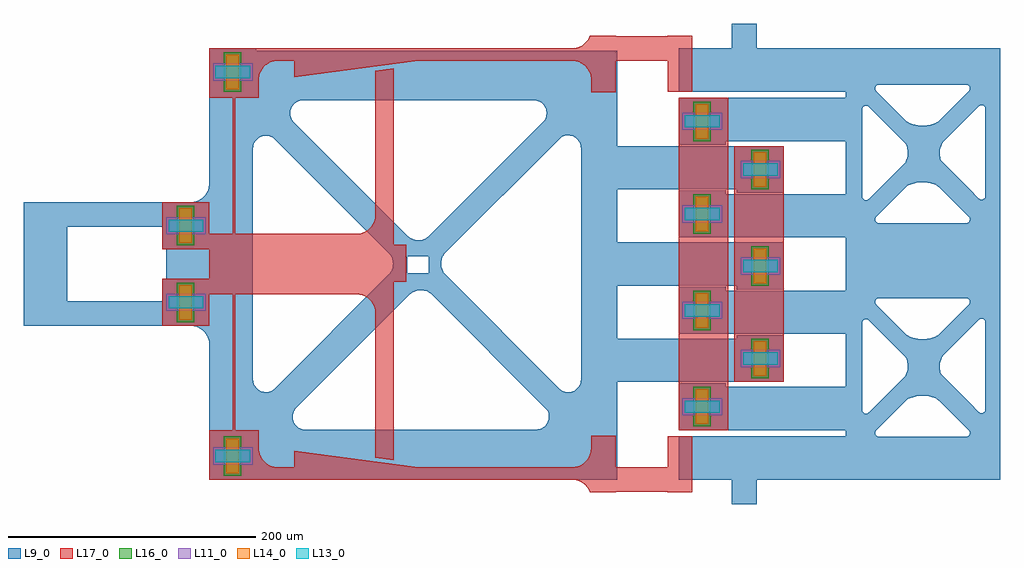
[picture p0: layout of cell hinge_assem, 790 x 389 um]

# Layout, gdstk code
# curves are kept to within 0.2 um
from math import pi, radians
import gdstk
lib = gdstk.Library(unit=1e-6, precision=1e-09)
def R(c, l, rs):  # rectangles x0, y0, x1, y1
    for r in rs: c.add(gdstk.rectangle(r[:2], r[2:], *l))
def A(c, l, x, y, w, h, nx, ny, dx, dy):  # array of equal rectangles
    R(c, l, [(x+i*dx, y+j*dy, x+i*dx+w, y+j*dy+h) for i in range(nx) for j in range(ny)])
def P(c, l, *ps):  # polygons
    for p in ps: c.add(gdstk.Polygon(p, *l))
L9_0 = (9, 0)
L11_0 = (11, 0)
L13_0 = (13, 0)
L14_0 = (14, 0)
L16_0 = (16, 0)
L17_0 = (17, 0)

pin_holder = lib.new_cell('pin_holder')
P(pin_holder, L9_0, [(50,75),(30,75),(30,-40),(-30,-40),(-30,40),(30,40),(30,75),(-50,75),(-50,-75),(50,-75)])

hinge_puller = lib.new_cell('hinge_puller')
R(hinge_puller, L9_0, [(-38,124.5,0,162.5), (-38,186.5,0,224.5)])
P(hinge_puller, L9_0, [(-13.75,224.501),(-10.39,225.307),(-8.282,226.245),(-4.588,228.988),(-2.427,231.686),(-1.338,233.719),(-0.557,235.889),(0.001,239.3),(0.001,224.5)],
  [(-0.001,110.749),(-0.807,114.109),(-1.745,116.217),(-4.488,119.911),(-7.186,122.072),(-9.219,123.161),(-11.389,123.942),(-14.8,124.5),(0,124.5)])
R(hinge_puller, L11_0, [(-35,136.5,-3,150.5), (-35,198.5,-3,212.5)])
R(hinge_puller, L13_0, [(-33,138.5,-5,148.5), (-33,200.5,-5,210.5)])
R(hinge_puller, L14_0, [(-24.2,129.5,-14.2,157.5), (-24.2,191.5,-14.2,219.5)])
R(hinge_puller, L16_0, [(-26.2,127.5,-12.2,159.5), (-26.2,189.5,-12.2,221.5)])
R(hinge_puller, L17_0, [(-38,124.5,0,162.5), (-38,186.5,0,224.5)])
hinge_puller.add(gdstk.Reference(pin_holder, (-75,174.5), rotation=3*pi/2))

hinge_assem = lib.new_cell('hinge_assem')
A(hinge_assem, L9_0, 380, 60, 38, 38, 1, 3, 0, 78)
A(hinge_assem, L9_0, 380, 60, 135, 35, 1, 4, 0, 78)
A(hinge_assem, L9_0, 330, 99, 135, 35, 1, 3, 0, 78)
R(hinge_assem, L9_0, [(423,0,443,20), (0,20,38,58), (380,20,515,55), (427,99,465,137), (427,173.8,465,211.8), (427,252,465,290), (380,291,418,329), (0,331,38,369), (380,334,515,369), (423,369,443,389)])
P(hinge_assem, L9_0, [(640,196.2),(615.633,196.2),(615.633,163.787),(615.139,162.139),(590,136.9),(587.609,135.728),(583.829,134.441),(581.219,133.91),(577.237,133.62),(573.257,133.942),(569.373,134.867),(565.676,136.374),(563.7,137.8),(539.665,161.856),(538.967,163.787),(539.428,165.446),(540.398,166.432),(541.6,166.9),(613,166.9),(614.202,166.432),(614.973,165.732),(615.633,163.787),(615.633,196.2),(515,196.2),(515,108.1),(528.5,108.1),(528.5,147.3),(529.172,148.785),(530.584,149.768),(532.304,149.848),(533.801,148.999),(563.189,119.611),(564.395,117.223),(565.316,113.781),(565.477,111.409),(565.079,108.1),(591.515,108.1),(591.158,110.502),(591.328,114.06),(592.313,117.484),(593.996,120.496),(622.899,149.399),(624.062,150.148),(625.087,150.333),(627.032,149.673),(627.732,148.902),(628.2,147.7),(628.2,108.1),(640,108.1)],
  [(640,108.1),(628.2,108.1),(628.139,76.057),(627.528,74.815),(626.439,73.962),(625.087,73.667),(623.742,73.989),(615.733,81.767),(615.717,57.464),(614.843,55.606),(613.1,54.7),(541.6,54.7),(540.115,55.372),(539.262,56.461),(538.99,58.16),(539.461,59.461),(564.7,84.7),(567.091,85.872),(570.871,87.159),(573.481,87.69),(577.463,87.98),(581.443,87.658),(585.327,86.733),(589.024,85.226),(591,83.8),(614.799,60.001),(615.548,58.838),(615.733,57.813),(615.733,81.767),(592.666,104.834),(591.515,108.1),(565.079,108.1),(563.335,103.735),(533.801,74.201),(532.638,73.452),(531.613,73.267),(529.668,73.927),(528.968,74.698),(528.5,75.9),(528.5,108.1),(515,108.1),(515,20),(640,20)],
  [(640,369),(615.633,369),(615.633,336.587),(615.139,334.939),(590,309.7),(587.609,308.528),(583.829,307.241),(581.219,306.71),(577.237,306.42),(573.257,306.742),(569.373,307.667),(565.676,309.174),(563.7,310.6),(539.665,334.656),(538.967,336.587),(539.428,338.246),(540.398,339.232),(541.6,339.7),(613,339.7),(614.202,339.232),(614.973,338.532),(615.633,336.587),(615.633,369),(515,369),(515,280.9),(528.5,280.9),(528.5,320.1),(529.172,321.585),(530.584,322.568),(532.304,322.648),(533.801,321.799),(563.189,292.411),(564.395,290.023),(565.316,286.581),(565.477,284.209),(565.079,280.9),(591.515,280.9),(591.158,283.302),(591.328,286.86),(592.313,290.284),(593.996,293.296),(622.899,322.199),(624.062,322.948),(625.087,323.133),(627.032,322.473),(627.732,321.702),(628.2,320.5),(628.2,280.9),(640,280.9)],
  [(640,280.9),(628.2,280.9),(628.139,248.857),(627.528,247.615),(626.439,246.762),(625.087,246.467),(623.742,246.789),(615.733,254.567),(615.717,230.264),(614.843,228.406),(613.1,227.5),(541.6,227.5),(540.115,228.172),(539.262,229.261),(538.99,230.96),(539.461,232.261),(564.7,257.5),(567.091,258.672),(570.871,259.959),(573.481,260.49),(577.463,260.78),(581.443,260.458),(585.327,259.533),(589.024,258.026),(591,256.6),(614.799,232.801),(615.548,231.638),(615.733,230.613),(615.733,254.567),(592.666,277.634),(591.515,280.9),(565.079,280.9),(563.335,276.535),(533.801,247.001),(532.638,246.252),(531.613,246.067),(529.668,246.727),(528.968,247.498),(528.5,248.7),(528.5,280.9),(515,280.9),(515,192.8),(640,192.8)],
  [(330,367),(273.047,367),(273.047,316.03),(272.656,313.677),(271.103,310.466),(177.078,216.378),(173.72,214.497),(169.469,213.698),(165.195,214.364),(163.204,215.229),(160.64,217.06),(67.916,309.784),(66.238,312.51),(65.453,315.99),(65.886,319.531),(67.486,322.719),(69.113,324.462),(71.094,325.79),(73.324,326.634),(75.8,327.1),(262.7,327.1),(265.176,326.674),(267.406,325.83),(270.25,323.677),(272.204,320.692),(272.893,318.41),(273.047,316.03),(273.047,367),(0,367),(0,193.5),(35.3,193.5),(35.3,288.1),(36.084,291.715),(37.898,294.787),(40.64,297.068),(42.829,298.014),(45.176,298.438),(47.558,298.319),(49.85,297.662),(52.263,296.237),(146.022,202.478),(147.481,200.121),(148.238,198.086),(148.639,195.953),(148.641,193.5),(160.2,193.5),(160.2,200.9),(177.8,200.9),(177.8,193.5),(187.658,193.5),(187.748,196.697),(188.264,198.805),(190.361,202.661),(284.536,296.836),(287.537,298.256),(289.89,298.647),(292.27,298.493),(294.552,297.804),(297.537,295.85),(299.69,293.006),(300.534,290.776),(300.96,288.3),(301,293.68),(301,193.5),(330,193.5)],
  [(330,193.5),(301,193.5),(301,101),(300.216,97.385),(299.123,95.266),(296.659,92.686),(294.592,91.496),(291.124,90.662),(288.742,90.781),(285.375,91.958),(283.43,93.67),(283.43,60.2),(77.8,60.2),(75.324,60.626),(73.094,61.47),(71.113,62.798),(69.486,64.541),(68.296,66.608),(67.607,68.89),(67.453,71.27),(67.844,73.623),(69.663,77.163),(162.816,170.316),(165.679,172.181),(168.772,173.184),(172.017,173.373),(174.162,173.039),(177.196,171.871),(179.061,170.639),(273.481,76.219),(274.556,73.763),(274.947,71.41),(274.514,67.869),(273.568,65.68),(272.15,63.763),(270.334,62.217),(268.215,61.124),(264.6,60.34),(283.43,60.2),(283.43,93.67),(190.684,186.416),(188.819,189.279),(187.658,193.5),(177.8,193.5),(177.8,187.2),(160.2,187.2),(160.2,193.5),(148.641,193.5),(147.646,189.581),(145.34,186.04),(52.516,93.216),(49.79,91.538),(47.498,90.881),(45.116,90.762),(42.769,91.186),(40.58,92.132),(37.838,94.413),(36.024,97.485),(35.3,100.709),(35.3,193.5),(0,193.5),(0,20),(330,20)])
A(hinge_assem, L11_0, 383, 72, 32, 14, 1, 3, 0, 78)
R(hinge_assem, L11_0, [(3,32,35,46), (430,111,462,125), (430,185.8,462,199.8), (430,264,462,278), (383,303,415,317), (3,343,35,357)])
A(hinge_assem, L13_0, 385, 74, 28, 10, 1, 3, 0, 78)
R(hinge_assem, L13_0, [(5,34,33,44), (432,113,460,123), (432,187.8,460,197.8), (432,266,460,276), (385,305,413,315), (5,345,33,355)])
A(hinge_assem, L14_0, 393.8, 65, 10, 28, 1, 3, 0, 78)
R(hinge_assem, L14_0, [(13.8,25,23.8,53), (440.8,104,450.8,132), (440.8,178.8,450.8,206.8), (440.8,257,450.8,285), (393.8,296,403.8,324), (13.8,336,23.8,364)])
A(hinge_assem, L16_0, 391.8, 63, 14, 32, 1, 3, 0, 78)
R(hinge_assem, L16_0, [(11.8,23,25.8,55), (438.8,102,452.8,134), (438.8,176.8,452.8,208.8), (438.8,255,452.8,287), (391.8,294,405.8,326), (11.8,334,25.8,366)])
A(hinge_assem, L17_0, 380, 60, 38, 38, 1, 3, 0, 78)
R(hinge_assem, L17_0, [(309,9.9,329,55.3), (371,9.9,391,55.1), (329,10,371,30), (0,20,38,58), (0,20,40.1,60.1), (40.1,20,309,30), (134.4,38.8,149.4,194.4), (380,60,420,329), (19,60.1,21,170.1), (425,99,465,290), (427,99,465,137), (0,170.1,134.4,218.9), (427,173.8,465,211.8), (149.4,180,159.4,210), (134.4,194.4,149.4,350), (19,218.9,21,328.9), (427,252,465,290), (380,291,418,329), (0,328.9,40.1,369), (0,331,38,369), (309,333.7,329,379.1), (371,333.9,391,379.1), (40.1,359,309,369), (329,359,371,379)])
P(hinge_assem, L17_0, [(40.101,345.25),(40.907,348.61),(41.845,350.718),(44.588,354.412),(47.286,356.573),(49.319,357.662),(51.489,358.443),(54.9,359.001),(40.1,359.001)],
  [(68.8,43.171),(169.4,30),(68.8,30)],
  [(309.001,379.1),(308.017,379.1),(305.919,375.234),(302.666,371.981),(298.61,369.807),(295.25,369),(309.001,369)],
  [(295.25,30.001),(298.61,30.807),(300.718,31.745),(304.412,34.488),(306.573,37.186),(307.662,39.219),(308.443,41.389),(309.001,44.8),(309.001,30)],
  [(309,20.001),(294.2,20.001),(298.71,19.093),(302.766,16.919),(306.019,13.666),(308.076,9.9),(309,9.9)],
  [(68.8,345.829),(169.4,359),(68.8,359)],
  [(308.999,345.25),(308.193,348.61),(307.255,350.718),(304.512,354.412),(301.814,356.573),(299.781,357.662),(297.611,358.443),(294.2,359.001),(309,359.001)],
  [(53.85,30.001),(50.49,30.807),(48.382,31.745),(44.688,34.488),(42.527,37.186),(41.438,39.219),(40.657,41.389),(40.099,44.8),(40.099,30)],
  [(149.4,353.001),(134.4,351.037),(134.4,339.83),(149.4,339.83)],
  [(149.4,35.829),(134.4,37.793),(134.4,49),(149.4,49)],
  [(134.4,37.8),(149.4,35.826),(149.4,38.8),(134.4,38.8)],
  [(120.649,218.901),(124.009,219.707),(126.117,220.645),(129.811,223.388),(131.972,226.086),(133.061,228.119),(133.842,230.289),(134.4,233.7),(134.4,218.9)],
  [(134.399,156.349),(133.593,159.709),(132.655,161.817),(129.912,165.511),(127.214,167.672),(125.181,168.761),(123.011,169.542),(119.6,170.1),(134.4,170.1)])
hinge_assem.add(gdstk.Reference(hinge_puller, (0,20)))

lib.write_gds('hinge_assem.gds')
